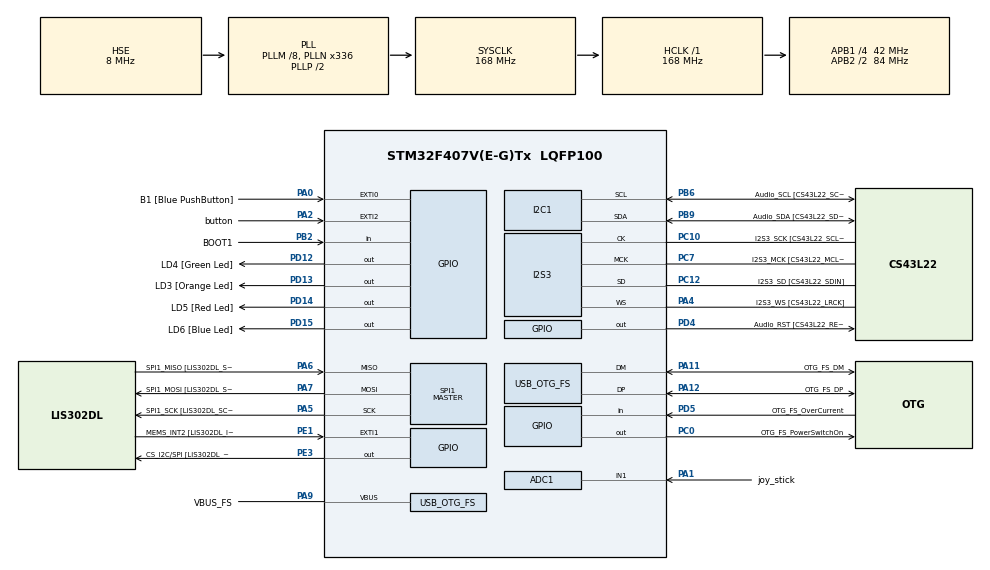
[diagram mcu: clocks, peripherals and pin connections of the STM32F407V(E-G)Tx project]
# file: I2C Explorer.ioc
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ADC1.Channel-1\#ChannelRegularConversion=ADC_CHANNEL_1
ADC1.ContinuousConvMode=ENABLE
ADC1.DMAContinuousRequests=ENABLE
ADC1.NbrOfConversionFlag=1
ADC1.Rank-1\#ChannelRegularConversion=1
ADC1.SamplingTime-1\#ChannelRegularConversion=ADC_SAMPLETIME_480CYCLES
ADC1.master=1
Dma.ADC1.1.Direction=DMA_PERIPH_TO_MEMORY
Dma.ADC1.1.FIFOMode=DMA_FIFOMODE_DISABLE
Dma.ADC1.1.Instance=DMA2_Stream0
Dma.ADC1.1.MemDataAlignment=DMA_MDATAALIGN_HALFWORD
Dma.ADC1.1.MemInc=DMA_MINC_ENABLE
Dma.ADC1.1.Mode=DMA_CIRCULAR
Dma.ADC1.1.PeriphDataAlignment=DMA_PDATAALIGN_HALFWORD
Dma.ADC1.1.PeriphInc=DMA_PINC_DISABLE
Dma.ADC1.1.Priority=DMA_PRIORITY_LOW
Dma.I2C1_RX.0.Direction=DMA_PERIPH_TO_MEMORY
Dma.I2C1_RX.0.FIFOMode=DMA_FIFOMODE_DISABLE
Dma.I2C1_RX.0.Instance=DMA1_Stream0
Dma.I2C1_RX.0.MemDataAlignment=DMA_MDATAALIGN_BYTE
Dma.I2C1_RX.0.MemInc=DMA_MINC_ENABLE
Dma.I2C1_RX.0.Mode=DMA_NORMAL
Dma.I2C1_RX.0.PeriphDataAlignment=DMA_PDATAALIGN_BYTE
Dma.I2C1_RX.0.PeriphInc=DMA_PINC_DISABLE
Dma.I2C1_RX.0.Priority=DMA_PRIORITY_LOW
Dma.I2C1_TX.2.Direction=DMA_MEMORY_TO_PERIPH
Dma.I2C1_TX.2.FIFOMode=DMA_FIFOMODE_DISABLE
Dma.I2C1_TX.2.Instance=DMA1_Stream6
Dma.I2C1_TX.2.MemDataAlignment=DMA_MDATAALIGN_BYTE
Dma.I2C1_TX.2.MemInc=DMA_MINC_ENABLE
Dma.I2C1_TX.2.Mode=DMA_NORMAL
Dma.I2C1_TX.2.PeriphDataAlignment=DMA_PDATAALIGN_BYTE
Dma.I2C1_TX.2.PeriphInc=DMA_PINC_DISABLE
Dma.I2C1_TX.2.Priority=DMA_PRIORITY_LOW
Dma.Request0=I2C1_RX
Dma.Request1=ADC1
Dma.Request2=I2C1_TX
I2C1.I2C_Mode=I2C_Fast
I2S3.AudioFreq-Half_Duplex_Master=I2S_AUDIOFREQ_96K
I2S3.ErrorAudioFreq=-2.34 %
I2S3.ErrorAudioFreq-Half_Duplex_Master=0.8 %
I2S3.FullDuplexMode=I2S_FULLDUPLEXMODE_DISABLE
I2S3.Instance=SPI$Index
I2S3.RealAudioFreq=93.75 KHz
I2S3.RealAudioFreq-Half_Duplex_Master=96.774 KHz
I2S3.VirtualMode=I2S_MODE_MASTER
Mcu.Family=STM32F4
Mcu.Name=STM32F407V(E-G)Tx
Mcu.Package=LQFP100
NVIC.DMA1_Stream0_IRQn=true\:0\:0\:false\:false\:true\:false\:true\:true
NVIC.DMA1_Stream6_IRQn=true\:0\:0\:false\:false\:true\:false\:true\:true
NVIC.DMA2_Stream0_IRQn=true\:0\:0\:false\:false\:true\:false\:true\:true
NVIC.EXTI2_IRQn=true\:0\:0\:false\:false\:true\:true\:true\:true
NVIC.I2C1_ER_IRQn=true\:0\:0\:false\:false\:true\:true\:true\:true
NVIC.I2C1_EV_IRQn=true\:0\:0\:false\:false\:true\:true\:true\:true
NVIC.OTG_FS_IRQn=true\:0\:0\:false\:false\:true\:true\:true\:true
NVIC.PriorityGroup=NVIC_PRIORITYGROUP_0
PA0-WKUP.GPIO_Label=B1 [Blue PushButton]
PA0-WKUP.GPIO_ModeDefaultEXTI=GPIO_MODE_EVT_RISING
PA0-WKUP.GPIO_PuPd=GPIO_NOPULL
PA0-WKUP.Signal=GPXTI0
PA1.GPIO_Label=joy_stick
PA1.Signal=ADCx_IN1
PA10.GPIO_Label=OTG_FS_ID
PA10.GPIO_Mode=GPIO_MODE_AF_PP
PA10.GPIO_PuPd=GPIO_NOPULL
PA10.GPIO_Speed=GPIO_SPEED_FREQ_LOW
PA10.Signal=USB_OTG_FS_ID
PA11.GPIO_Label=OTG_FS_DM
PA11.GPIO_Mode=GPIO_MODE_AF_PP
PA11.GPIO_PuPd=GPIO_NOPULL
PA11.GPIO_Speed=GPIO_SPEED_FREQ_LOW
PA11.Mode=Host_Only
PA11.Signal=USB_OTG_FS_DM
PA12.GPIO_Label=OTG_FS_DP
PA12.GPIO_Mode=GPIO_MODE_AF_PP
PA12.GPIO_PuPd=GPIO_NOPULL
PA12.GPIO_Speed=GPIO_SPEED_FREQ_LOW
PA12.Mode=Host_Only
PA12.Signal=USB_OTG_FS_DP
PA13.GPIO_Label=SWDIO
PA13.Mode=Serial_Wire
PA13.Signal=SYS_JTMS-SWDIO
PA14.GPIO_Label=SWCLK
PA14.Mode=Serial_Wire
PA14.Signal=SYS_JTCK-SWCLK
PA2.GPIO_Label=button
PA2.GPIO_PuPd=GPIO_PULLUP
PA2.Signal=GPXTI2
PA4.GPIO_Label=I2S3_WS [CS43L22_LRCK]
PA4.GPIO_Mode=GPIO_MODE_AF_PP
PA4.GPIO_PuPd=GPIO_NOPULL
PA4.GPIO_Speed=GPIO_SPEED_FREQ_LOW
PA4.Mode=Half_Duplex_Master
PA4.Signal=I2S3_WS
PA5.GPIO_Label=SPI1_SCK [LIS302DL_SCL/SPC]
PA5.GPIO_Mode=GPIO_MODE_AF_PP
PA5.GPIO_PuPd=GPIO_NOPULL
PA5.GPIO_Speed=GPIO_SPEED_FREQ_LOW
PA5.Mode=Full_Duplex_Master
PA5.Signal=SPI1_SCK
PA6.GPIO_Label=SPI1_MISO [LIS302DL_SDO]
PA6.GPIO_Mode=GPIO_MODE_AF_PP
PA6.GPIO_PuPd=GPIO_NOPULL
PA6.GPIO_Speed=GPIO_SPEED_FREQ_LOW
PA6.Mode=Full_Duplex_Master
PA6.Signal=SPI1_MISO
PA7.GPIO_Label=SPI1_MOSI [LIS302DL_SDA/SDI/SDO]
PA7.GPIO_Mode=GPIO_MODE_AF_PP
PA7.GPIO_PuPd=GPIO_NOPULL
PA7.GPIO_Speed=GPIO_SPEED_FREQ_LOW
PA7.Mode=Full_Duplex_Master
PA7.Signal=SPI1_MOSI
PA9.GPIO_Label=VBUS_FS
PA9.GPIO_Mode=GPIO_MODE_INPUT
PA9.GPIO_PuPd=GPIO_NOPULL
PA9.Mode=Activate_VBUS
PA9.Signal=USB_OTG_FS_VBUS
PB10.GPIO_Label=CLK_IN [MP45DT02_CLK]
PB10.GPIO_Mode=GPIO_MODE_AF_PP
PB10.GPIO_PuPd=GPIO_NOPULL
PB10.GPIO_Speed=GPIO_SPEED_FREQ_LOW
PB10.Signal=I2S2_CK
PB2.GPIO_Label=BOOT1
PB2.GPIO_Mode=GPIO_MODE_INPUT
PB2.GPIO_PuPd=GPIO_NOPULL
PB2.Signal=GPIO_Input
PB3.GPIO_Label=SWO
PB3.Signal=SYS_JTDO-SWO
PB6.GPIO_Label=Audio_SCL [CS43L22_SCL]
PB6.GPIO_Mode=GPIO_MODE_AF_OD
PB6.GPIO_Pu=GPIO_PULLUP
PB6.GPIO_PuPd=GPIO_NOPULL
PB6.GPIO_Speed=GPIO_SPEED_FREQ_LOW
PB6.Mode=I2C
PB6.Signal=I2C1_SCL
PB9.GPIO_Label=Audio_SDA [CS43L22_SDA]
PB9.GPIO_Mode=GPIO_MODE_AF_OD
PB9.GPIO_Pu=GPIO_PULLUP
PB9.GPIO_PuPd=GPIO_NOPULL
PB9.GPIO_Speed=GPIO_SPEED_FREQ_LOW
PB9.Mode=I2C
PB9.Signal=I2C1_SDA
PC0.GPIO_Label=OTG_FS_PowerSwitchOn
PC0.GPIO_PuPd=GPIO_NOPULL
PC0.GPIO_Speed=GPIO_SPEED_FREQ_LOW
PC0.PinState=GPIO_PIN_SET
PC0.Signal=GPIO_Output
PC10.GPIO_Label=I2S3_SCK [CS43L22_SCLK]
PC10.GPIO_Mode=GPIO_MODE_AF_PP
PC10.GPIO_PuPd=GPIO_NOPULL
PC10.GPIO_Speed=GPIO_SPEED_FREQ_LOW
PC10.Mode=Half_Duplex_Master
PC10.Signal=I2S3_CK
PC12.GPIO_Label=I2S3_SD [CS43L22_SDIN]
PC12.GPIO_Mode=GPIO_MODE_AF_PP
PC12.GPIO_PuPd=GPIO_NOPULL
PC12.GPIO_Speed=GPIO_SPEED_FREQ_LOW
PC12.Mode=Half_Duplex_Master
PC12.Signal=I2S3_SD
PC14-OSC32_IN.GPIO_Label=PC14-OSC32_IN
PC14-OSC32_IN.Mode=LSE-External-Oscillator
PC14-OSC32_IN.Signal=RCC_OSC32_IN
PC15-OSC32_OUT.GPIO_Label=PC15-OSC32_OUT
PC15-OSC32_OUT.Mode=LSE-External-Oscillator
PC15-OSC32_OUT.Signal=RCC_OSC32_OUT
PC3.GPIO_Label=PDM_OUT [MP45DT02_DOUT]
PC3.GPIO_Mode=GPIO_MODE_AF_PP
PC3.GPIO_PuPd=GPIO_NOPULL
PC3.GPIO_Speed=GPIO_SPEED_FREQ_LOW
PC3.Signal=I2S2_SD
PC7.GPIO_Label=I2S3_MCK [CS43L22_MCLK]
PC7.GPIO_Mode=GPIO_MODE_AF_PP
PC7.GPIO_PuPd=GPIO_NOPULL
PC7.GPIO_Speed=GPIO_SPEED_FREQ_LOW
PC7.Mode=Master_Clock_Activated
PC7.Signal=I2S3_MCK
PD12.GPIO_Label=LD4 [Green Led]
PD12.GPIO_PuPd=GPIO_NOPULL
PD12.GPIO_Speed=GPIO_SPEED_FREQ_LOW
PD12.Signal=GPIO_Output
PD13.GPIO_Label=LD3 [Orange Led]
PD13.GPIO_PuPd=GPIO_NOPULL
PD13.GPIO_Speed=GPIO_SPEED_FREQ_LOW
PD13.Signal=GPIO_Output
PD14.GPIO_Label=LD5 [Red Led]
PD14.GPIO_PuPd=GPIO_NOPULL
PD14.GPIO_Speed=GPIO_SPEED_FREQ_LOW
PD14.Signal=GPIO_Output
PD15.GPIO_Label=LD6 [Blue Led]
PD15.GPIO_PuPd=GPIO_NOPULL
PD15.GPIO_Speed=GPIO_SPEED_FREQ_LOW
PD15.Signal=GPIO_Output
PD4.GPIO_Label=Audio_RST [CS43L22_RESET]
PD4.GPIO_PuPd=GPIO_NOPULL
PD4.GPIO_Speed=GPIO_SPEED_FREQ_LOW
PD4.Signal=GPIO_Output
PD5.GPIO_Label=OTG_FS_OverCurrent
PD5.GPIO_Mode=GPIO_MODE_INPUT
PD5.GPIO_PuPd=GPIO_NOPULL
PD5.Signal=GPIO_Input
PE1.GPIO_Label=MEMS_INT2 [LIS302DL_INT2]
PE1.GPIO_ModeDefaultEXTI=GPIO_MODE_EVT_RISING
PE1.GPIO_PuPd=GPIO_NOPULL
PE1.Signal=GPXTI1
PE3.GPIO_Label=CS_I2C/SPI [LIS302DL_CS_I2C/SPI]
PE3.GPIO_PuPd=GPIO_NOPULL
PE3.GPIO_Speed=GPIO_SPEED_FREQ_LOW
PE3.Signal=GPIO_Output
PH0-OSC_IN.GPIO_Label=PH0-OSC_IN
PH0-OSC_IN.Mode=HSE-External-Oscillator
PH0-OSC_IN.Signal=RCC_OSC_IN
PH1-OSC_OUT.GPIO_Label=PH1-OSC_OUT
PH1-OSC_OUT.Mode=HSE-External-Oscillator
PH1-OSC_OUT.Signal=RCC_OSC_OUT
ProjectManager.HeapSize=0x200
ProjectManager.StackSize=0x400
ProjectManager.TargetToolchain=STM32CubeIDE
RCC.48MHZClocksFreq_Value=48000000
RCC.AHBFreq_Value=168000000
RCC.APB1CLKDivider=RCC_HCLK_DIV4
RCC.APB1Freq_Value=42000000
RCC.APB1TimFreq_Value=84000000
RCC.APB2CLKDivider=RCC_HCLK_DIV2
RCC.APB2Freq_Value=84000000
RCC.APB2TimFreq_Value=168000000
RCC.CortexFreq_Value=168000000
RCC.HCLKFreq_Value=168000000
RCC.HSE_VALUE=8000000
RCC.HSI_VALUE=16000000
RCC.PLLM=8
RCC.PLLN=336
RCC.PLLQ=7
RCC.SYSCLKFreq_VALUE=168000000
RCC.SYSCLKSource=RCC_SYSCLKSOURCE_PLLCLK
RCC.VCOOutputFreq_Value=336000000
SH.ADCx_IN1.0=ADC1_IN1,IN1
SPI1.BaudRatePrescaler-Full_Duplex_Master=SPI_BAUDRATEPRESCALER_2
SPI1.CalculateBaudRate-Full_Duplex_Master=42.0 MBits/s
SPI1.Direction=SPI_DIRECTION_2LINES
SPI1.Mode=SPI_MODE_MASTER
SPI1.Mode-Full_Duplex_Master=SPI_MODE_MASTER
SPI1.VirtualType=VM_MASTER
USB_HOST.BSP.number=1
USB_HOST.USBH_HandleTypeDef-CDC_FS=hUsbHostFS
USB_HOST.VirtualModeFS=Cdc
USB_HOST0.BSP.STBoard=false
USB_HOST0.BSP.api=Unknown
USB_HOST0.BSP.instance=PC0
USB_HOST0.BSP.ip=GPIO
USB_HOST0.BSP.mode=Output
USB_HOST0.BSP.name=Drive_VBUS_FS
USB_HOST0.BSP.solution=PC0
USB_OTG_FS.VirtualMode=Host_Only
USB_OTG_FS.phy_itface=HCD_PHY_EMBEDDED
VP_USB_HOST_VS_USB_HOST_CDC_FS.Mode=CDC_FS
board=STM32F407G-DISC1

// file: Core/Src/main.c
/* USER CODE BEGIN Header */
/**
  ******************************************************************************
  * @file           : main.c
  * @brief          : Main program body
  ******************************************************************************
  * @attention
  *
  * Copyright (c) 2026 STMicroelectronics.
  * All rights reserved.
  *
  * This software is licensed under terms that can be found in the LICENSE file
  * in the root directory of this software component.
  * If no LICENSE file comes with this software, it is provided AS-IS.
  *
  ******************************************************************************
  */
/* USER CODE END Header */
#include "main.h"
#include "usb_host.h"

/* USER CODE BEGIN Includes */
#include "MPU9250-DMP.h"
#include "ssd1306_fonts.h"
#include "ssd1306.h"
#include <stdio.h>
/* USER CODE END Includes */

/* USER CODE BEGIN PD */
# define SHT3X_ADRES (0x44 << 1)
#define MPU9250_ADDR 0XD0
/* USER CODE END PD */

ADC_HandleTypeDef hadc1;
DMA_HandleTypeDef hdma_adc1;

I2C_HandleTypeDef hi2c1;
DMA_HandleTypeDef hdma_i2c1_rx;
DMA_HandleTypeDef hdma_i2c1_tx;

I2S_HandleTypeDef hi2s3;

SPI_HandleTypeDef hspi1;

/* USER CODE BEGIN PV */
uint8_t SHT3X_data[6];
float temperature1 = 0;
float humidity = 0;
uint8_t oto_baslat_komutu[2] = {0x20, 0x32}; // 2 Saniyede 1 ölçüm (0.5 mps)
uint8_t veri_cek_komutu[2]   = {0xE0, 0x00}; // Hazır veriyi getir (Fetch)
float accel_x,accel_y,accel_z;

typedef enum{
	STATE_WELCOME,
	STATE_MAIN_MENU,
	STATE_ENVIRONMENT,
	STATE_IMU
}MenuState;

MenuState current_state = STATE_WELCOME;
uint32_t welcome_timer = 0;
uint8_t welcome_drawn = 0;

uint16_t joy_data[1];
uint8_t menu_cursor = 0;

char str_temp[20];
char str_hum[20];
uint32_t last_button_press = 0;
/* USER CODE END PV */

void SystemClock_Config(void);
static void MX_GPIO_Init(void);
static void MX_DMA_Init(void);
static void MX_ADC1_Init(void);
static void MX_I2C1_Init(void);
static void MX_I2S3_Init(void);
static void MX_SPI1_Init(void);
void MX_USB_HOST_Process(void);

int main(void)
{

  /* MCU Configuration--------------------------------------------------------*/

  /* Reset of all peripherals, Initializes the Flash interface and the Systick. */
  HAL_Init();

  /* Configure the system clock */
  SystemClock_Config();

  /* Initialize all configured peripherals */
  MX_GPIO_Init();
  MX_DMA_Init();
  MX_ADC1_Init();
  MX_I2C1_Init();
  MX_I2S3_Init();
  MX_SPI1_Init();
  MX_USB_HOST_Init();
  /* USER CODE BEGIN 2 */
  HAL_ADC_Start_DMA(&hadc1,(uint32_t*)joy_data,1);
  ssd1306_Init();
  welcome_timer = HAL_GetTick();
  HAL_I2C_Master_Transmit(&hi2c1, SHT3X_ADRES, oto_baslat_komutu, 2, 100);
  HAL_Delay(20);
  if (MPU9250_begin() != INV_SUCCESS)
    {
        // Eğer buraya girerse I2C bağlantısında veya kablolarda bir sorun var demektir!
        // İstersen buraya bir LED yakma komutu veya Error_Handler() koyabilirsin.
    }
  /* USER CODE END 2 */

  /* Infinite loop */
  while (1)
  {
    MX_USB_HOST_Process();

    /* USER CODE BEGIN 3 */
    MX_USB_HOST_Process();

 // ==========================================
      // 1. BUTON VE JOYSTICK KONTROLÜ (GİRDİLER)
      // ==========================================
      uint16_t joy_y = joy_data[0];

      // Joystick Yukarı
      if (joy_y < 1000 && menu_cursor > 0) {
          menu_cursor--;
          HAL_Delay(250);
      }
      // Joystick Aşağı
      else if (joy_y > 3000 && menu_cursor < 1) {
          menu_cursor++;
          HAL_Delay(250);
      }

      // Buton Basılma Kontrolü (Pinini kendine göre ayarla, örn: button_Pin)
      if (HAL_GPIO_ReadPin(button_GPIO_Port, button_Pin) == GPIO_PIN_RESET && (HAL_GetTick() - last_button_press > 300))
      {
          last_button_press = HAL_GetTick(); // Zamanı kaydet

          if (current_state == STATE_MAIN_MENU) {
              if (menu_cursor == 0) current_state = STATE_ENVIRONMENT;
              if (menu_cursor == 1) current_state = STATE_IMU;
          }
          else if (current_state == STATE_ENVIRONMENT || current_state == STATE_IMU) {
              current_state = STATE_MAIN_MENU; // Alt menüdeyken basılırsa geri dön
          }
      }

      // ==========================================
      // 2. I2C HATTINI BEKLE VE SENSÖRLERİ OKU
      // ==========================================
      // Ekranın önceki DMA transferinin bitmesini KESİN olarak bekle (Trafik ışığı)
      while (HAL_I2C_GetState(&hi2c1) != HAL_I2C_STATE_READY);

      // HAT ŞU AN KESİN BOŞ! Hemen sensörleri okuyoruz:

      // A) IMU Okuması
      MPU9250_update(UPDATE_ACCEL | UPDATE_GYRO | UPDATE_COMPASS);
      accel_x = MPU9250_calcAccel(ax);
      accel_y = MPU9250_calcAccel(ay);
      accel_z = MPU9250_calcAccel(az);

      // B) SHT3x Okuması
      HAL_I2C_Master_Transmit(&hi2c1, SHT3X_ADRES, veri_cek_komutu, 2, 50);
      if (HAL_I2C_Master_Receive(&hi2c1, SHT3X_ADRES, SHT3X_data, 6, 50) == HAL_OK)
      {
          uint16_t raw_temperature = (SHT3X_data[0] << 8 | SHT3X_data[1]);
          temperature1 = -45.0f + (175.0f * ((float)raw_temperature / 65535.0f));

          uint16_t raw_humidity = (SHT3X_data[3] << 8 | SHT3X_data[4]);
          humidity = 100.0f * ((float)raw_humidity / 65535.0f);
      }

      // ==========================================
      // 3. EKRANI ÇİZ (DURUM MAKİNESİ)
      // ==========================================
      switch(current_state){
          case STATE_WELCOME:
              if(welcome_drawn == 0){
                  ssd1306_Fill(Black);
                  ssd1306_SetCursor(25,24);
                  ssd1306_WriteString("WELCOME", Font_11x18, White);
                  ssd1306_UpdateScreen_DMA();
                  welcome_drawn = 1;
              }
              if(HAL_GetTick() - welcome_timer >= 1000){
                  current_state = STATE_MAIN_MENU;
              }
              break;

          case STATE_MAIN_MENU:
              ssd1306_Fill(Black);
              ssd1306_SetCursor(30, 0);
              ssd1306_WriteString("MAIN MENU", Font_7x10, White);

              ssd1306_SetCursor(15, 20);
              ssd1306_WriteString("Environment", Font_7x10, White);
              ssd1306_SetCursor(15, 35);
              ssd1306_WriteString("IMU Data", Font_7x10, White);

              if (menu_cursor == 0) {
                  ssd1306_SetCursor(2, 20);
                  ssd1306_WriteString(">", Font_7x10, White);
              } else if (menu_cursor == 1) {
                  ssd1306_SetCursor(2, 35);
                  ssd1306_WriteString(">", Font_7x10, White);
              }
              ssd1306_UpdateScreen_DMA();
              break;

          case STATE_ENVIRONMENT:
              ssd1306_Fill(Black);
              ssd1306_SetCursor(20, 0);
              ssd1306_WriteString("ENVIRONMENT", Font_7x10, White);

              // Gerçek zamanlı okunan verileri ekrana bas (%.2f virgülden sonra 2 hane gösterir)
              char str_temp[20], str_hum[20];
              sprintf(str_temp, "Temp: %.2f C", temperature1);
              ssd1306_SetCursor(5, 25);
              ssd1306_WriteString(str_temp, Font_7x10, White);

              sprintf(str_hum, "Hum : %.2f %%", humidity);
              ssd1306_SetCursor(5, 45);
              ssd1306_WriteString(str_hum, Font_7x10, White);

              ssd1306_UpdateScreen_DMA();
              break;

          case STATE_IMU:
        	  ssd1306_Fill(Black);

        	  // --- BAŞLIK (Sarı Alan) ---
        	   ssd1306_SetCursor(30, 0);
        	   ssd1306_WriteString("IMU DATA", Font_7x10, White);

        	   // --- VERİLER (Mavi Alan) ---
        	   char str_x[20], str_y[20], str_z[20];

        	   // X İvmesi
        	   sprintf(str_x, "X: %.2f G", accel_x);
        	   ssd1306_SetCursor(5, 20);
        	   ssd1306_WriteString(str_x, Font_7x10, White);

        	   // Y İvmesi
        	   sprintf(str_y, "Y: %.2f G", accel_y);
        	   ssd1306_SetCursor(5, 35);
        	   ssd1306_WriteString(str_y, Font_7x10, White);

        	   // Z İvmesi
        	   sprintf(str_z, "Z: %.2f G", accel_z);
        	   ssd1306_SetCursor(5, 50);
        	   ssd1306_WriteString(str_z, Font_7x10, White);

        	   ssd1306_UpdateScreen_DMA();
              break;
      }

      // 4. KÜÇÜK BİR MOLA (İşlemci saniyede ~20 kare çizsin, fazlasına gerek yok)
      HAL_Delay(50);
  }
  /* USER CODE END 3 */
}

void SystemClock_Config(void)
{
  RCC_OscInitTypeDef RCC_OscInitStruct = {0};
  RCC_ClkInitTypeDef RCC_ClkInitStruct = {0};

  /** Configure the main internal regulator output voltage
  */
  __HAL_RCC_PWR_CLK_ENABLE();
  __HAL_PWR_VOLTAGESCALING_CONFIG(PWR_REGULATOR_VOLTAGE_SCALE1);

  /** Initializes the RCC Oscillators according to the specified parameters
  * in the RCC_OscInitTypeDef structure.
  */
  RCC_OscInitStruct.OscillatorType = RCC_OSCILLATORTYPE_HSE;
  RCC_OscInitStruct.HSEState = RCC_HSE_ON;
  RCC_OscInitStruct.PLL.PLLState = RCC_PLL_ON;
  RCC_OscInitStruct.PLL.PLLSource = RCC_PLLSOURCE_HSE;
  RCC_OscInitStruct.PLL.PLLM = 8;
  RCC_OscInitStruct.PLL.PLLN = 336;
  RCC_OscInitStruct.PLL.PLLP = RCC_PLLP_DIV2;
  RCC_OscInitStruct.PLL.PLLQ = 7;
  if (HAL_RCC_OscConfig(&RCC_OscInitStruct) != HAL_OK)
  {
    Error_Handler();
  }

  /** Initializes the CPU, AHB and APB buses clocks
  */
  RCC_ClkInitStruct.ClockType = RCC_CLOCKTYPE_HCLK|RCC_CLOCKTYPE_SYSCLK
                              |RCC_CLOCKTYPE_PCLK1|RCC_CLOCKTYPE_PCLK2;
  RCC_ClkInitStruct.SYSCLKSource = RCC_SYSCLKSOURCE_PLLCLK;
  RCC_ClkInitStruct.AHBCLKDivider = RCC_SYSCLK_DIV1;
  RCC_ClkInitStruct.APB1CLKDivider = RCC_HCLK_DIV4;
  RCC_ClkInitStruct.APB2CLKDivider = RCC_HCLK_DIV2;

  if (HAL_RCC_ClockConfig(&RCC_ClkInitStruct, FLASH_LATENCY_5) != HAL_OK)
  {
    Error_Handler();
  }
}

static void MX_ADC1_Init(void)
{

  ADC_ChannelConfTypeDef sConfig = {0};

  /** Configure the global features of the ADC (Clock, Resolution, Data Alignment and number of conversion)
  */
  hadc1.Instance = ADC1;
  hadc1.Init.ClockPrescaler = ADC_CLOCK_SYNC_PCLK_DIV4;
  hadc1.Init.Resolution = ADC_RESOLUTION_12B;
  hadc1.Init.ScanConvMode = DISABLE;
  hadc1.Init.ContinuousConvMode = ENABLE;
  hadc1.Init.DiscontinuousConvMode = DISABLE;
  hadc1.Init.ExternalTrigConvEdge = ADC_EXTERNALTRIGCONVEDGE_NONE;
  hadc1.Init.ExternalTrigConv = ADC_SOFTWARE_START;
  hadc1.Init.DataAlign = ADC_DATAALIGN_RIGHT;
  hadc1.Init.NbrOfConversion = 1;
  hadc1.Init.DMAContinuousRequests = ENABLE;
  hadc1.Init.EOCSelection = ADC_EOC_SINGLE_CONV;
  if (HAL_ADC_Init(&hadc1) != HAL_OK)
  {
    Error_Handler();
  }

  /** Configure for the selected ADC regular channel its corresponding rank in the sequencer and its sample time.
  */
  sConfig.Channel = ADC_CHANNEL_1;
  sConfig.Rank = 1;
  sConfig.SamplingTime = ADC_SAMPLETIME_480CYCLES;
  if (HAL_ADC_ConfigChannel(&hadc1, &sConfig) != HAL_OK)
  {
    Error_Handler();
  }

}

static void MX_I2C1_Init(void)
{

  hi2c1.Instance = I2C1;
  hi2c1.Init.ClockSpeed = 400000;
  hi2c1.Init.DutyCycle = I2C_DUTYCYCLE_2;
  hi2c1.Init.OwnAddress1 = 0;
  hi2c1.Init.AddressingMode = I2C_ADDRESSINGMODE_7BIT;
  hi2c1.Init.DualAddressMode = I2C_DUALADDRESS_DISABLE;
  hi2c1.Init.OwnAddress2 = 0;
  hi2c1.Init.GeneralCallMode = I2C_GENERALCALL_DISABLE;
  hi2c1.Init.NoStretchMode = I2C_NOSTRETCH_DISABLE;
  if (HAL_I2C_Init(&hi2c1) != HAL_OK)
  {
    Error_Handler();
  }

}

static void MX_I2S3_Init(void)
{

  hi2s3.Instance = SPI3;
  hi2s3.Init.Mode = I2S_MODE_MASTER_TX;
  hi2s3.Init.Standard = I2S_STANDARD_PHILIPS;
  hi2s3.Init.DataFormat = I2S_DATAFORMAT_16B;
  hi2s3.Init.MCLKOutput = I2S_MCLKOUTPUT_ENABLE;
  hi2s3.Init.AudioFreq = I2S_AUDIOFREQ_96K;
  hi2s3.Init.CPOL = I2S_CPOL_LOW;
  hi2s3.Init.ClockSource = I2S_CLOCK_PLL;
  hi2s3.Init.FullDuplexMode = I2S_FULLDUPLEXMODE_DISABLE;
  if (HAL_I2S_Init(&hi2s3) != HAL_OK)
  {
    Error_Handler();
  }

}

static void MX_SPI1_Init(void)
{

  /* SPI1 parameter configuration*/
  hspi1.Instance = SPI1;
  hspi1.Init.Mode = SPI_MODE_MASTER;
  hspi1.Init.Direction = SPI_DIRECTION_2LINES;
  hspi1.Init.DataSize = SPI_DATASIZE_8BIT;
  hspi1.Init.CLKPolarity = SPI_POLARITY_LOW;
  hspi1.Init.CLKPhase = SPI_PHASE_1EDGE;
  hspi1.Init.NSS = SPI_NSS_SOFT;
  hspi1.Init.BaudRatePrescaler = SPI_BAUDRATEPRESCALER_2;
  hspi1.Init.FirstBit = SPI_FIRSTBIT_MSB;
  hspi1.Init.TIMode = SPI_TIMODE_DISABLE;
  hspi1.Init.CRCCalculation = SPI_CRCCALCULATION_DISABLE;
  hspi1.Init.CRCPolynomial = 10;
  if (HAL_SPI_Init(&hspi1) != HAL_OK)
  {
    Error_Handler();
  }

}

static void MX_DMA_Init(void)
{

  /* DMA controller clock enable */
  __HAL_RCC_DMA1_CLK_ENABLE();
  __HAL_RCC_DMA2_CLK_ENABLE();

  /* DMA interrupt init */
  /* DMA1_Stream0_IRQn interrupt configuration */
  HAL_NVIC_SetPriority(DMA1_Stream0_IRQn, 0, 0);
  HAL_NVIC_EnableIRQ(DMA1_Stream0_IRQn);
  /* DMA1_Stream6_IRQn interrupt configuration */
  HAL_NVIC_SetPriority(DMA1_Stream6_IRQn, 0, 0);
  HAL_NVIC_EnableIRQ(DMA1_Stream6_IRQn);
  /* DMA2_Stream0_IRQn interrupt configuration */
  HAL_NVIC_SetPriority(DMA2_Stream0_IRQn, 0, 0);
  HAL_NVIC_EnableIRQ(DMA2_Stream0_IRQn);

}

static void MX_GPIO_Init(void)
{
  GPIO_InitTypeDef GPIO_InitStruct = {0};

  /* GPIO Ports Clock Enable */
  __HAL_RCC_GPIOE_CLK_ENABLE();
  __HAL_RCC_GPIOC_CLK_ENABLE();
  __HAL_RCC_GPIOH_CLK_ENABLE();
  __HAL_RCC_GPIOA_CLK_ENABLE();
  __HAL_RCC_GPIOB_CLK_ENABLE();
  __HAL_RCC_GPIOD_CLK_ENABLE();

  /*Configure GPIO pin Output Level */
  HAL_GPIO_WritePin(CS_I2C_SPI_GPIO_Port, CS_I2C_SPI_Pin, GPIO_PIN_RESET);

  /*Configure GPIO pin Output Level */
  HAL_GPIO_WritePin(OTG_FS_PowerSwitchOn_GPIO_Port, OTG_FS_PowerSwitchOn_Pin, GPIO_PIN_SET);

  /*Configure GPIO pin Output Level */
  HAL_GPIO_WritePin(GPIOD, LD4_Pin|LD3_Pin|LD5_Pin|LD6_Pin
                          |Audio_RST_Pin, GPIO_PIN_RESET);

  /*Configure GPIO pin : CS_I2C_SPI_Pin */
  GPIO_InitStruct.Pin = CS_I2C_SPI_Pin;
  GPIO_InitStruct.Mode = GPIO_MODE_OUTPUT_PP;
  GPIO_InitStruct.Pull = GPIO_NOPULL;
  GPIO_InitStruct.Speed = GPIO_SPEED_FREQ_LOW;
  HAL_GPIO_Init(CS_I2C_SPI_GPIO_Port, &GPIO_InitStruct);

  /*Configure GPIO pin : OTG_FS_PowerSwitchOn_Pin */
  GPIO_InitStruct.Pin = OTG_FS_PowerSwitchOn_Pin;
  GPIO_InitStruct.Mode = GPIO_MODE_OUTPUT_PP;
  GPIO_InitStruct.Pull = GPIO_NOPULL;
  GPIO_InitStruct.Speed = GPIO_SPEED_FREQ_LOW;
  HAL_GPIO_Init(OTG_FS_PowerSwitchOn_GPIO_Port, &GPIO_InitStruct);

  /*Configure GPIO pin : PDM_OUT_Pin */
  GPIO_InitStruct.Pin = PDM_OUT_Pin;
  GPIO_InitStruct.Mode = GPIO_MODE_AF_PP;
  GPIO_InitStruct.Pull = GPIO_NOPULL;
  GPIO_InitStruct.Speed = GPIO_SPEED_FREQ_LOW;
  GPIO_InitStruct.Alternate = GPIO_AF5_SPI2;
  HAL_GPIO_Init(PDM_OUT_GPIO_Port, &GPIO_InitStruct);

  /*Configure GPIO pin : B1_Pin */
  GPIO_InitStruct.Pin = B1_Pin;
  GPIO_InitStruct.Mode = GPIO_MODE_EVT_RISING;
  GPIO_InitStruct.Pull = GPIO_NOPULL;
  HAL_GPIO_Init(B1_GPIO_Port, &GPIO_InitStruct);

  /*Configure GPIO pin : button_Pin */
  GPIO_InitStruct.Pin = button_Pin;
  GPIO_InitStruct.Mode = GPIO_MODE_IT_RISING;
  GPIO_InitStruct.Pull = GPIO_PULLUP;
  HAL_GPIO_Init(button_GPIO_Port, &GPIO_InitStruct);

  /*Configure GPIO pin : BOOT1_Pin */
  GPIO_InitStruct.Pin = BOOT1_Pin;
  GPIO_InitStruct.Mode = GPIO_MODE_INPUT;
  GPIO_InitStruct.Pull = GPIO_NOPULL;
  HAL_GPIO_Init(BOOT1_GPIO_Port, &GPIO_InitStruct);

  /*Configure GPIO pin : CLK_IN_Pin */
  GPIO_InitStruct.Pin = CLK_IN_Pin;
  GPIO_InitStruct.Mode = GPIO_MODE_AF_PP;
  GPIO_InitStruct.Pull = GPIO_NOPULL;
  GPIO_InitStruct.Speed = GPIO_SPEED_FREQ_LOW;
  GPIO_InitStruct.Alternate = GPIO_AF5_SPI2;
  HAL_GPIO_Init(CLK_IN_GPIO_Port, &GPIO_InitStruct);

  /*Configure GPIO pins : LD4_Pin LD3_Pin LD5_Pin LD6_Pin
                           Audio_RST_Pin */
  GPIO_InitStruct.Pin = LD4_Pin|LD3_Pin|LD5_Pin|LD6_Pin
                          |Audio_RST_Pin;
  GPIO_InitStruct.Mode = GPIO_MODE_OUTPUT_PP;
  GPIO_InitStruct.Pull = GPIO_NOPULL;
  GPIO_InitStruct.Speed = GPIO_SPEED_FREQ_LOW;
  HAL_GPIO_Init(GPIOD, &GPIO_InitStruct);

  /*Configure GPIO pin : OTG_FS_OverCurrent_Pin */
  GPIO_InitStruct.Pin = OTG_FS_OverCurrent_Pin;
  GPIO_InitStruct.Mode = GPIO_MODE_INPUT;
  GPIO_InitStruct.Pull = GPIO_NOPULL;
  HAL_GPIO_Init(OTG_FS_OverCurrent_GPIO_Port, &GPIO_InitStruct);

  /*Configure GPIO pin : MEMS_INT2_Pin */
  GPIO_InitStruct.Pin = MEMS_INT2_Pin;
  GPIO_InitStruct.Mode = GPIO_MODE_EVT_RISING;
  GPIO_InitStruct.Pull = GPIO_NOPULL;
  HAL_GPIO_Init(MEMS_INT2_GPIO_Port, &GPIO_InitStruct);

  /* EXTI interrupt init*/
  HAL_NVIC_SetPriority(EXTI2_IRQn, 0, 0);
  HAL_NVIC_EnableIRQ(EXTI2_IRQn);

}

void Error_Handler(void)
{
  __disable_irq();
  while (1)
  {
  }
}
